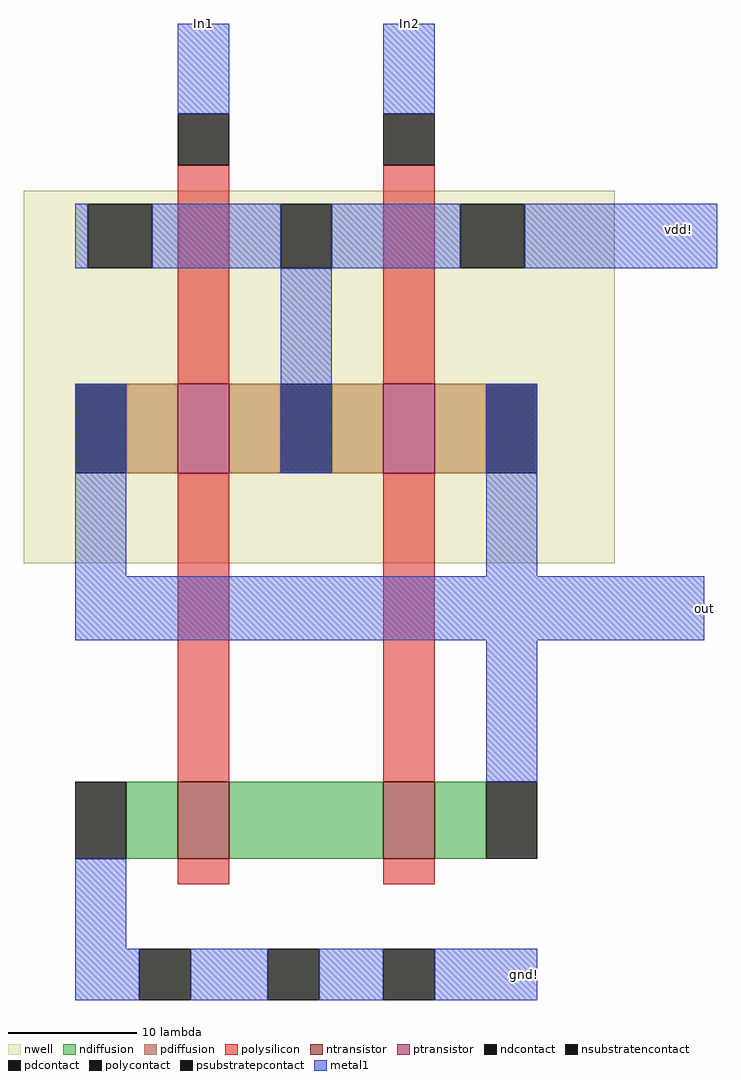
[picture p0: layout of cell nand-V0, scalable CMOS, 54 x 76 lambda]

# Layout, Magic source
magic
tech scmos
<< nwell >>
rect -16 -5 30 24
<< polysilicon >>
rect -4 9 0 26
rect 12 9 16 26
rect -4 -22 0 2
rect 12 -22 16 2
rect -4 -30 0 -28
rect 12 -30 16 -28
<< ndiffusion >>
rect -8 -28 -4 -22
rect 0 -28 12 -22
rect 16 -28 20 -22
<< pdiffusion >>
rect -8 2 -4 9
rect 0 2 4 9
rect 8 2 12 9
rect 16 2 20 9
<< metal1 >>
rect -4 30 0 37
rect 12 30 16 37
rect -12 18 -11 23
rect -6 18 4 23
rect 8 18 18 23
rect 23 18 38 23
rect -12 -6 -8 9
rect 4 2 8 18
rect 20 -6 24 9
rect -12 -11 37 -6
rect 20 -22 24 -11
rect -12 -35 -8 -28
rect -12 -39 -7 -35
rect -3 -39 3 -35
rect 7 -39 12 -35
rect 16 -39 24 -35
<< ntransistor >>
rect -4 -28 0 -22
rect 12 -28 16 -22
<< ptransistor >>
rect -4 2 0 9
rect 12 2 16 9
<< polycontact >>
rect -4 26 0 30
rect 12 26 16 30
<< ndcontact >>
rect -12 -28 -8 -22
rect 20 -28 24 -22
<< pdcontact >>
rect -12 2 -8 9
rect 4 2 8 9
rect 20 2 24 9
<< psubstratepcontact >>
rect -7 -39 -3 -35
rect 3 -39 7 -35
rect 12 -39 16 -35
<< nsubstratencontact >>
rect -11 18 -6 23
rect 4 18 8 23
rect 18 18 23 23
<< labels >>
rlabel metal1 -4 37 0 37 5 In1
rlabel metal1 12 37 16 37 5 In2
rlabel metal1 37 -11 37 -6 7 out
rlabel metal1 23 -37 23 -37 1 gnd!
rlabel metal1 35 21 35 21 7 vdd!
<< end >>
